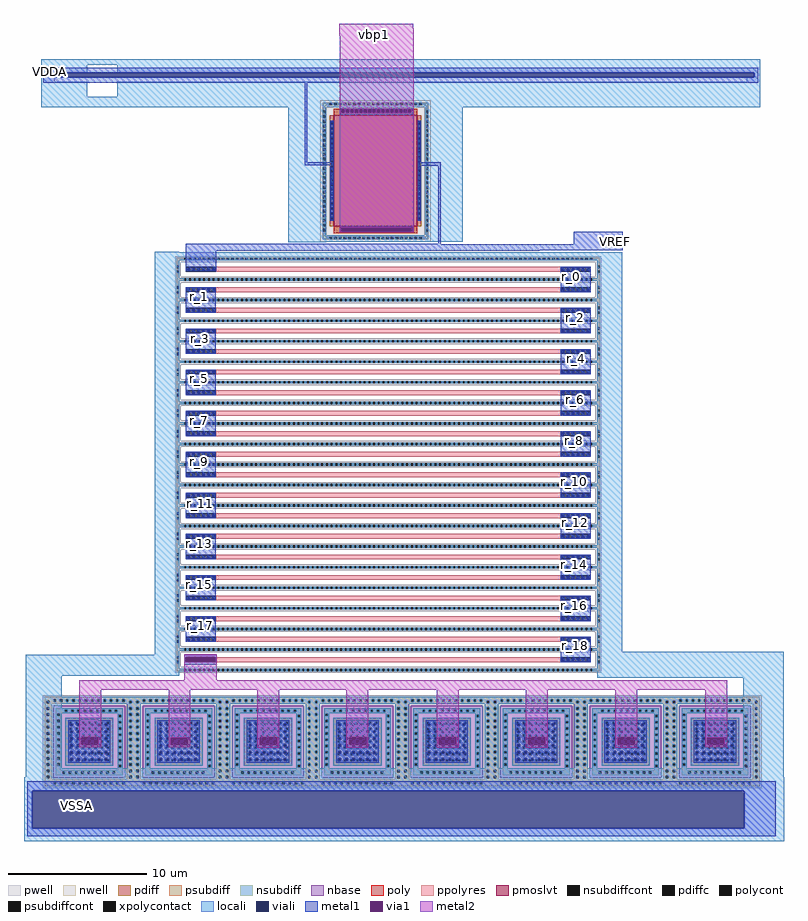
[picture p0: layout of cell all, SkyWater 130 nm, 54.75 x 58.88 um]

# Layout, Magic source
magic
tech sky130A
magscale 1 2
<< locali >>
rect 798 12066 11156 12148
rect 798 11950 1460 12066
rect 1888 11950 11156 12066
rect 798 11886 988 11950
rect 11067 11886 11156 11950
rect 798 11824 993 11886
rect 10963 11824 11156 11886
rect 798 11610 1460 11824
rect 1888 11610 11156 11824
rect 798 11455 11156 11610
rect 798 11454 4902 11455
rect 4358 9610 4902 11454
rect 6322 11454 11156 11455
rect 6322 9610 6866 11454
rect 4358 9520 6866 9610
rect 4358 9516 6838 9520
rect 4358 9514 4902 9516
rect 2432 9366 2782 9372
rect 2432 9254 9170 9366
rect 2432 3570 2782 9254
rect 570 3268 2782 3570
rect 572 3262 2782 3268
rect 8808 3608 9168 9254
rect 572 1930 1090 3262
rect 8808 3246 11492 3608
rect 8810 3236 11492 3246
rect 10908 1930 11492 3236
rect 572 1806 11492 1930
rect 548 1608 11498 1806
rect 548 1070 668 1608
rect 10926 1070 11498 1608
rect 548 882 11498 1070
<< viali >>
rect 988 11886 11067 11950
rect 668 1070 10926 1608
<< metal1 >>
rect 827 11950 11130 12027
rect 827 11886 988 11950
rect 11067 11886 11130 11950
rect 827 11812 11130 11886
rect 4595 10663 4630 11812
rect 5106 11427 6148 11442
rect 5106 11375 5119 11427
rect 5171 11375 5183 11427
rect 5235 11375 5247 11427
rect 5299 11375 5311 11427
rect 5363 11375 5375 11427
rect 5427 11375 5439 11427
rect 5491 11375 5503 11427
rect 5555 11375 5567 11427
rect 5619 11375 5631 11427
rect 5683 11375 5695 11427
rect 5747 11375 5759 11427
rect 5811 11375 5823 11427
rect 5875 11375 5887 11427
rect 5939 11375 5951 11427
rect 6003 11375 6015 11427
rect 6067 11375 6079 11427
rect 6131 11375 6148 11427
rect 5106 11351 6148 11375
rect 4962 10663 5010 10856
rect 4595 10619 5010 10663
rect 4962 10122 5010 10619
rect 4963 10116 5010 10122
rect 6224 10664 6266 10846
rect 6224 10615 6554 10664
rect 6224 10120 6266 10615
rect 6494 10611 6554 10615
rect 5106 9720 6148 9735
rect 5106 9664 5117 9720
rect 6134 9664 6148 9720
rect 5106 9652 6148 9664
rect 6519 9490 6554 10611
rect 2878 9483 6554 9490
rect 8467 9483 9178 9664
rect 2878 9480 9178 9483
rect 2876 9394 9178 9480
rect 2876 9392 7970 9394
rect 2876 9092 3316 9392
rect 2880 8494 3312 8860
rect 8280 8790 8712 9156
rect 2880 7902 3312 8268
rect 8280 8198 8712 8564
rect 2880 7310 3312 7676
rect 8280 7606 8712 7972
rect 2880 6718 3312 7084
rect 8280 7014 8712 7380
rect 2880 6126 3312 6492
rect 8280 6422 8712 6788
rect 2880 5534 3312 5900
rect 8280 5830 8712 6196
rect 2880 4942 3312 5308
rect 8280 5238 8712 5604
rect 2880 4350 3312 4716
rect 8280 4646 8712 5012
rect 2880 3758 3312 4124
rect 8280 4054 8712 4420
rect 2856 3532 3324 3568
rect 2856 3464 2874 3532
rect 3312 3464 3324 3532
rect 2856 3422 3324 3464
rect 8280 3462 8712 3828
rect 1375 2446 1619 2636
rect 1372 2442 1619 2446
rect 2660 2576 2910 2622
rect 1372 2376 1620 2442
rect 2660 2375 2908 2576
rect 3948 2377 4196 2622
rect 1372 2272 1620 2274
rect 2907 2272 2908 2375
rect 4195 2273 4196 2377
rect 3948 2272 4196 2273
rect 5236 2376 5484 2622
rect 6524 2377 6772 2622
rect 5236 2272 5237 2376
rect 6524 2273 6525 2377
rect 7812 2376 8060 2622
rect 6524 2272 6772 2273
rect 9100 2377 9348 2622
rect 9100 2272 9348 2273
rect 10388 2375 10636 2622
rect 10388 2272 10389 2375
rect 596 1608 11382 1746
rect 596 1070 668 1608
rect 10926 1070 11382 1608
rect 596 952 11382 1070
<< via1 >>
rect 5119 11375 5171 11427
rect 5183 11375 5235 11427
rect 5247 11375 5299 11427
rect 5311 11375 5363 11427
rect 5375 11375 5427 11427
rect 5439 11375 5491 11427
rect 5503 11375 5555 11427
rect 5567 11375 5619 11427
rect 5631 11375 5683 11427
rect 5695 11375 5747 11427
rect 5759 11375 5811 11427
rect 5823 11375 5875 11427
rect 5887 11375 5939 11427
rect 5951 11375 6003 11427
rect 6015 11375 6067 11427
rect 6079 11375 6131 11427
rect 5117 9664 6134 9720
rect 2874 3464 3312 3532
rect 1372 2274 1620 2376
rect 2659 2271 2907 2375
rect 3947 2273 4195 2377
rect 5237 2272 5485 2376
rect 6525 2273 6773 2377
rect 7812 2272 8060 2376
rect 9100 2273 9348 2377
rect 10389 2271 10637 2375
<< metal2 >>
rect 5092 12588 6158 12658
rect 5092 12490 6160 12588
rect 5094 11543 6160 12490
rect 5094 11427 6164 11543
rect 5094 11375 5119 11427
rect 5171 11375 5183 11427
rect 5235 11375 5247 11427
rect 5299 11375 5311 11427
rect 5363 11375 5375 11427
rect 5427 11375 5439 11427
rect 5491 11375 5503 11427
rect 5555 11375 5567 11427
rect 5619 11375 5631 11427
rect 5683 11375 5695 11427
rect 5747 11375 5759 11427
rect 5811 11375 5823 11427
rect 5875 11375 5887 11427
rect 5939 11375 5951 11427
rect 6003 11375 6015 11427
rect 6067 11375 6079 11427
rect 6131 11375 6164 11427
rect 5094 11364 6164 11375
rect 5095 9720 6164 11364
rect 5095 9664 5117 9720
rect 6134 9664 6164 9720
rect 5095 9655 6164 9664
rect 2856 3532 3324 3574
rect 2856 3464 2874 3532
rect 3312 3464 3324 3532
rect 2856 3202 3324 3464
rect 10361 3202 10679 3204
rect 1344 3062 10681 3202
rect 1344 3060 3324 3062
rect 1344 2376 1658 3060
rect 1344 2274 1372 2376
rect 1620 2274 1658 2376
rect 1344 2236 1658 2274
rect 2630 2375 2944 3060
rect 2630 2271 2659 2375
rect 2907 2271 2944 2375
rect 2630 2238 2944 2271
rect 3911 2377 4229 3062
rect 3911 2273 3947 2377
rect 4195 2273 4229 2377
rect 3911 2230 4229 2273
rect 5193 2376 5511 3062
rect 5193 2272 5237 2376
rect 5485 2272 5511 2376
rect 5193 2227 5511 2272
rect 6495 2377 6813 3062
rect 6495 2273 6525 2377
rect 6773 2273 6813 2377
rect 6495 2231 6813 2273
rect 7778 2376 8096 3062
rect 7778 2272 7812 2376
rect 8060 2272 8096 2376
rect 7778 2229 8096 2272
rect 9069 2377 9387 3062
rect 9069 2273 9100 2377
rect 9348 2273 9387 2377
rect 9069 2231 9387 2273
rect 10361 2375 10679 3062
rect 10361 2271 10389 2375
rect 10637 2271 10679 2375
rect 10361 2234 10679 2271
use sky130_fd_pr__pfet_01v8_lvt_KLHPYA  XM3
transform 1 0 5614 0 1 10539
box -796 -1019 796 1019
use sky130_fd_pr__rf_pnp_05v5_W3p40L3p40  XQ3
array 0 7 1288 0 0 0
transform 1 0 818 0 1 1646
box 0 0 1340 1340
use sky130_fd_pr__res_high_po_0p35_2EL4HT  XR1
transform 0 1 5796 -1 0 9121
box -35 -2916 35 2916
use sky130_fd_pr__res_high_po_0p35_2EL4HT  XR2
transform 0 1 5796 -1 0 8825
box -35 -2916 35 2916
use sky130_fd_pr__res_high_po_0p35_2EL4HT  XR3
transform 0 1 5796 -1 0 8529
box -35 -2916 35 2916
use sky130_fd_pr__res_high_po_0p35_2EL4HT  XR4
transform 0 1 5796 -1 0 8233
box -35 -2916 35 2916
use sky130_fd_pr__res_high_po_0p35_2EL4HT  XR5
transform 0 1 5796 -1 0 7937
box -35 -2916 35 2916
use sky130_fd_pr__res_high_po_0p35_2EL4HT  XR6
transform 0 1 5796 -1 0 7641
box -35 -2916 35 2916
use sky130_fd_pr__res_high_po_0p35_2EL4HT  XR7
transform 0 1 5796 -1 0 7345
box -35 -2916 35 2916
use sky130_fd_pr__res_high_po_0p35_2EL4HT  XR8
transform 0 1 5796 -1 0 7049
box -35 -2916 35 2916
use sky130_fd_pr__res_high_po_0p35_2EL4HT  XR9
transform 0 1 5796 -1 0 6753
box -35 -2916 35 2916
use sky130_fd_pr__res_high_po_0p35_2EL4HT  XR10
transform 0 1 5796 -1 0 6457
box -35 -2916 35 2916
use sky130_fd_pr__res_high_po_0p35_2EL4HT  XR11
transform 0 1 5796 -1 0 6161
box -35 -2916 35 2916
use sky130_fd_pr__res_high_po_0p35_2EL4HT  XR12
transform 0 1 5796 -1 0 5865
box -35 -2916 35 2916
use sky130_fd_pr__res_high_po_0p35_2EL4HT  XR13
transform 0 1 5796 -1 0 5569
box -35 -2916 35 2916
use sky130_fd_pr__res_high_po_0p35_2EL4HT  XR14
transform 0 1 5796 -1 0 5273
box -35 -2916 35 2916
use sky130_fd_pr__res_high_po_0p35_2EL4HT  XR15
transform 0 1 5796 -1 0 4977
box -35 -2916 35 2916
use sky130_fd_pr__res_high_po_0p35_2EL4HT  XR16
transform 0 1 5796 -1 0 4681
box -35 -2916 35 2916
use sky130_fd_pr__res_high_po_0p35_2EL4HT  XR17
transform 0 1 5796 -1 0 4385
box -35 -2916 35 2916
use sky130_fd_pr__res_high_po_0p35_2EL4HT  XR18
transform 0 1 5796 -1 0 4089
box -35 -2916 35 2916
use sky130_fd_pr__res_high_po_0p35_2EL4HT  XR19
transform 0 1 5796 -1 0 3793
box -35 -2916 35 2916
use sky130_fd_pr__res_high_po_0p35_2EL4HT  XR20
transform 0 1 5796 -1 0 3497
box -35 -2916 35 2916
<< labels >>
flabel metal1 s 8434 9020 8434 9020 0 FreeSans 400 0 0 0 r_0
flabel metal1 s 3082 8730 3082 8730 0 FreeSans 400 0 0 0 r_1
flabel metal1 s 8500 8424 8500 8424 0 FreeSans 400 0 0 0 r_2
flabel metal1 s 3084 8126 3084 8126 0 FreeSans 400 0 0 0 r_3
flabel metal1 s 8508 7830 8508 7830 0 FreeSans 400 0 0 0 r_4
flabel metal1 s 3082 7542 3082 7542 0 FreeSans 400 0 0 0 r_5
flabel metal1 s 8488 7240 8488 7240 0 FreeSans 400 0 0 0 r_6
flabel metal1 s 3072 6940 3072 6940 0 FreeSans 400 0 0 0 r_7
flabel metal1 s 8484 6656 8484 6656 0 FreeSans 400 0 0 0 r_8
flabel metal1 s 3078 6352 3078 6352 0 FreeSans 400 0 0 0 r_9
flabel metal1 s 8480 6060 8480 6060 0 FreeSans 400 0 0 0 r_10
flabel metal1 s 3094 5750 3094 5750 0 FreeSans 400 0 0 0 r_11
flabel metal1 s 8500 5480 8500 5480 0 FreeSans 400 0 0 0 r_12
flabel metal1 s 3074 5164 3074 5164 0 FreeSans 400 0 0 0 r_13
flabel metal1 s 8480 4870 8480 4870 0 FreeSans 400 0 0 0 r_14
flabel metal1 s 3070 4576 3070 4576 0 FreeSans 400 0 0 0 r_15
flabel metal1 s 8478 4280 8478 4280 0 FreeSans 400 0 0 0 r_16
flabel metal1 s 3094 3992 3094 3992 0 FreeSans 400 0 0 0 r_17
flabel metal1 s 8492 3704 8492 3704 0 FreeSans 400 0 0 0 r_18
flabel metal1 s 1200 1302 1400 1502 0 FreeSans 2000 0 0 0 VSSA
port 1 nsew
flabel metal1 s 8976 9428 9176 9628 0 FreeSans 2000 0 0 0 VREF
port 2 nsew
flabel metal2 s 5500 12410 5700 12610 0 FreeSans 2000 0 0 0 vbp1
port 4 nsew
flabel metal1 918 11966 918 11966 0 FreeSans 320 0 0 0 VDDA
port 3 nsew
<< end >>

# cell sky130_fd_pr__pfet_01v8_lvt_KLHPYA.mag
magic
tech sky130A
magscale 1 2
<< nwell >>
rect -796 -1019 796 1019
<< pmoslvt >>
rect -600 -800 600 800
<< pdiff >>
rect -658 697 -600 800
rect -658 663 -646 697
rect -612 663 -600 697
rect -658 629 -600 663
rect -658 595 -646 629
rect -612 595 -600 629
rect -658 561 -600 595
rect -658 527 -646 561
rect -612 527 -600 561
rect -658 493 -600 527
rect -658 459 -646 493
rect -612 459 -600 493
rect -658 425 -600 459
rect -658 391 -646 425
rect -612 391 -600 425
rect -658 357 -600 391
rect -658 323 -646 357
rect -612 323 -600 357
rect -658 289 -600 323
rect -658 255 -646 289
rect -612 255 -600 289
rect -658 221 -600 255
rect -658 187 -646 221
rect -612 187 -600 221
rect -658 153 -600 187
rect -658 119 -646 153
rect -612 119 -600 153
rect -658 85 -600 119
rect -658 51 -646 85
rect -612 51 -600 85
rect -658 17 -600 51
rect -658 -17 -646 17
rect -612 -17 -600 17
rect -658 -51 -600 -17
rect -658 -85 -646 -51
rect -612 -85 -600 -51
rect -658 -119 -600 -85
rect -658 -153 -646 -119
rect -612 -153 -600 -119
rect -658 -187 -600 -153
rect -658 -221 -646 -187
rect -612 -221 -600 -187
rect -658 -255 -600 -221
rect -658 -289 -646 -255
rect -612 -289 -600 -255
rect -658 -323 -600 -289
rect -658 -357 -646 -323
rect -612 -357 -600 -323
rect -658 -391 -600 -357
rect -658 -425 -646 -391
rect -612 -425 -600 -391
rect -658 -459 -600 -425
rect -658 -493 -646 -459
rect -612 -493 -600 -459
rect -658 -527 -600 -493
rect -658 -561 -646 -527
rect -612 -561 -600 -527
rect -658 -595 -600 -561
rect -658 -629 -646 -595
rect -612 -629 -600 -595
rect -658 -663 -600 -629
rect -658 -697 -646 -663
rect -612 -697 -600 -663
rect -658 -800 -600 -697
rect 600 697 658 800
rect 600 663 612 697
rect 646 663 658 697
rect 600 629 658 663
rect 600 595 612 629
rect 646 595 658 629
rect 600 561 658 595
rect 600 527 612 561
rect 646 527 658 561
rect 600 493 658 527
rect 600 459 612 493
rect 646 459 658 493
rect 600 425 658 459
rect 600 391 612 425
rect 646 391 658 425
rect 600 357 658 391
rect 600 323 612 357
rect 646 323 658 357
rect 600 289 658 323
rect 600 255 612 289
rect 646 255 658 289
rect 600 221 658 255
rect 600 187 612 221
rect 646 187 658 221
rect 600 153 658 187
rect 600 119 612 153
rect 646 119 658 153
rect 600 85 658 119
rect 600 51 612 85
rect 646 51 658 85
rect 600 17 658 51
rect 600 -17 612 17
rect 646 -17 658 17
rect 600 -51 658 -17
rect 600 -85 612 -51
rect 646 -85 658 -51
rect 600 -119 658 -85
rect 600 -153 612 -119
rect 646 -153 658 -119
rect 600 -187 658 -153
rect 600 -221 612 -187
rect 646 -221 658 -187
rect 600 -255 658 -221
rect 600 -289 612 -255
rect 646 -289 658 -255
rect 600 -323 658 -289
rect 600 -357 612 -323
rect 646 -357 658 -323
rect 600 -391 658 -357
rect 600 -425 612 -391
rect 646 -425 658 -391
rect 600 -459 658 -425
rect 600 -493 612 -459
rect 646 -493 658 -459
rect 600 -527 658 -493
rect 600 -561 612 -527
rect 646 -561 658 -527
rect 600 -595 658 -561
rect 600 -629 612 -595
rect 646 -629 658 -595
rect 600 -663 658 -629
rect 600 -697 612 -663
rect 646 -697 658 -663
rect 600 -800 658 -697
<< pdiffc >>
rect -646 663 -612 697
rect -646 595 -612 629
rect -646 527 -612 561
rect -646 459 -612 493
rect -646 391 -612 425
rect -646 323 -612 357
rect -646 255 -612 289
rect -646 187 -612 221
rect -646 119 -612 153
rect -646 51 -612 85
rect -646 -17 -612 17
rect -646 -85 -612 -51
rect -646 -153 -612 -119
rect -646 -221 -612 -187
rect -646 -289 -612 -255
rect -646 -357 -612 -323
rect -646 -425 -612 -391
rect -646 -493 -612 -459
rect -646 -561 -612 -527
rect -646 -629 -612 -595
rect -646 -697 -612 -663
rect 612 663 646 697
rect 612 595 646 629
rect 612 527 646 561
rect 612 459 646 493
rect 612 391 646 425
rect 612 323 646 357
rect 612 255 646 289
rect 612 187 646 221
rect 612 119 646 153
rect 612 51 646 85
rect 612 -17 646 17
rect 612 -85 646 -51
rect 612 -153 646 -119
rect 612 -221 646 -187
rect 612 -289 646 -255
rect 612 -357 646 -323
rect 612 -425 646 -391
rect 612 -493 646 -459
rect 612 -561 646 -527
rect 612 -629 646 -595
rect 612 -697 646 -663
<< nsubdiff >>
rect -760 949 -663 983
rect -629 949 -595 983
rect -561 949 -527 983
rect -493 949 -459 983
rect -425 949 -391 983
rect -357 949 -323 983
rect -289 949 -255 983
rect -221 949 -187 983
rect -153 949 -119 983
rect -85 949 -51 983
rect -17 949 17 983
rect 51 949 85 983
rect 119 949 153 983
rect 187 949 221 983
rect 255 949 289 983
rect 323 949 357 983
rect 391 949 425 983
rect 459 949 493 983
rect 527 949 561 983
rect 595 949 629 983
rect 663 949 760 983
rect -760 867 -726 949
rect -760 799 -726 833
rect 726 867 760 949
rect -760 731 -726 765
rect -760 663 -726 697
rect -760 595 -726 629
rect -760 527 -726 561
rect -760 459 -726 493
rect -760 391 -726 425
rect -760 323 -726 357
rect -760 255 -726 289
rect -760 187 -726 221
rect -760 119 -726 153
rect -760 51 -726 85
rect -760 -17 -726 17
rect -760 -85 -726 -51
rect -760 -153 -726 -119
rect -760 -221 -726 -187
rect -760 -289 -726 -255
rect -760 -357 -726 -323
rect -760 -425 -726 -391
rect -760 -493 -726 -459
rect -760 -561 -726 -527
rect -760 -629 -726 -595
rect -760 -697 -726 -663
rect -760 -765 -726 -731
rect -760 -833 -726 -799
rect 726 799 760 833
rect 726 731 760 765
rect 726 663 760 697
rect 726 595 760 629
rect 726 527 760 561
rect 726 459 760 493
rect 726 391 760 425
rect 726 323 760 357
rect 726 255 760 289
rect 726 187 760 221
rect 726 119 760 153
rect 726 51 760 85
rect 726 -17 760 17
rect 726 -85 760 -51
rect 726 -153 760 -119
rect 726 -221 760 -187
rect 726 -289 760 -255
rect 726 -357 760 -323
rect 726 -425 760 -391
rect 726 -493 760 -459
rect 726 -561 760 -527
rect 726 -629 760 -595
rect 726 -697 760 -663
rect 726 -765 760 -731
rect -760 -949 -726 -867
rect 726 -833 760 -799
rect 726 -949 760 -867
rect -760 -983 -663 -949
rect -629 -983 -595 -949
rect -561 -983 -527 -949
rect -493 -983 -459 -949
rect -425 -983 -391 -949
rect -357 -983 -323 -949
rect -289 -983 -255 -949
rect -221 -983 -187 -949
rect -153 -983 -119 -949
rect -85 -983 -51 -949
rect -17 -983 17 -949
rect 51 -983 85 -949
rect 119 -983 153 -949
rect 187 -983 221 -949
rect 255 -983 289 -949
rect 323 -983 357 -949
rect 391 -983 425 -949
rect 459 -983 493 -949
rect 527 -983 561 -949
rect 595 -983 629 -949
rect 663 -983 760 -949
<< nsubdiffcont >>
rect -663 949 -629 983
rect -595 949 -561 983
rect -527 949 -493 983
rect -459 949 -425 983
rect -391 949 -357 983
rect -323 949 -289 983
rect -255 949 -221 983
rect -187 949 -153 983
rect -119 949 -85 983
rect -51 949 -17 983
rect 17 949 51 983
rect 85 949 119 983
rect 153 949 187 983
rect 221 949 255 983
rect 289 949 323 983
rect 357 949 391 983
rect 425 949 459 983
rect 493 949 527 983
rect 561 949 595 983
rect 629 949 663 983
rect -760 833 -726 867
rect 726 833 760 867
rect -760 765 -726 799
rect -760 697 -726 731
rect -760 629 -726 663
rect -760 561 -726 595
rect -760 493 -726 527
rect -760 425 -726 459
rect -760 357 -726 391
rect -760 289 -726 323
rect -760 221 -726 255
rect -760 153 -726 187
rect -760 85 -726 119
rect -760 17 -726 51
rect -760 -51 -726 -17
rect -760 -119 -726 -85
rect -760 -187 -726 -153
rect -760 -255 -726 -221
rect -760 -323 -726 -289
rect -760 -391 -726 -357
rect -760 -459 -726 -425
rect -760 -527 -726 -493
rect -760 -595 -726 -561
rect -760 -663 -726 -629
rect -760 -731 -726 -697
rect -760 -799 -726 -765
rect 726 765 760 799
rect 726 697 760 731
rect 726 629 760 663
rect 726 561 760 595
rect 726 493 760 527
rect 726 425 760 459
rect 726 357 760 391
rect 726 289 760 323
rect 726 221 760 255
rect 726 153 760 187
rect 726 85 760 119
rect 726 17 760 51
rect 726 -51 760 -17
rect 726 -119 760 -85
rect 726 -187 760 -153
rect 726 -255 760 -221
rect 726 -323 760 -289
rect 726 -391 760 -357
rect 726 -459 760 -425
rect 726 -527 760 -493
rect 726 -595 760 -561
rect 726 -663 760 -629
rect 726 -731 760 -697
rect 726 -799 760 -765
rect -760 -867 -726 -833
rect 726 -867 760 -833
rect -663 -983 -629 -949
rect -595 -983 -561 -949
rect -527 -983 -493 -949
rect -459 -983 -425 -949
rect -391 -983 -357 -949
rect -323 -983 -289 -949
rect -255 -983 -221 -949
rect -187 -983 -153 -949
rect -119 -983 -85 -949
rect -51 -983 -17 -949
rect 17 -983 51 -949
rect 85 -983 119 -949
rect 153 -983 187 -949
rect 221 -983 255 -949
rect 289 -983 323 -949
rect 357 -983 391 -949
rect 425 -983 459 -949
rect 493 -983 527 -949
rect 561 -983 595 -949
rect 629 -983 663 -949
<< poly >>
rect -600 881 600 897
rect -600 847 -493 881
rect -459 847 -425 881
rect -391 847 -357 881
rect -323 847 -289 881
rect -255 847 -221 881
rect -187 847 -153 881
rect -119 847 -85 881
rect -51 847 -17 881
rect 17 847 51 881
rect 85 847 119 881
rect 153 847 187 881
rect 221 847 255 881
rect 289 847 323 881
rect 357 847 391 881
rect 425 847 459 881
rect 493 847 600 881
rect -600 800 600 847
rect -600 -847 600 -800
rect -600 -881 -493 -847
rect -459 -881 -425 -847
rect -391 -881 -357 -847
rect -323 -881 -289 -847
rect -255 -881 -221 -847
rect -187 -881 -153 -847
rect -119 -881 -85 -847
rect -51 -881 -17 -847
rect 17 -881 51 -847
rect 85 -881 119 -847
rect 153 -881 187 -847
rect 221 -881 255 -847
rect 289 -881 323 -847
rect 357 -881 391 -847
rect 425 -881 459 -847
rect 493 -881 600 -847
rect -600 -897 600 -881
<< polycont >>
rect -493 847 -459 881
rect -425 847 -391 881
rect -357 847 -323 881
rect -289 847 -255 881
rect -221 847 -187 881
rect -153 847 -119 881
rect -85 847 -51 881
rect -17 847 17 881
rect 51 847 85 881
rect 119 847 153 881
rect 187 847 221 881
rect 255 847 289 881
rect 323 847 357 881
rect 391 847 425 881
rect 459 847 493 881
rect -493 -881 -459 -847
rect -425 -881 -391 -847
rect -357 -881 -323 -847
rect -289 -881 -255 -847
rect -221 -881 -187 -847
rect -153 -881 -119 -847
rect -85 -881 -51 -847
rect -17 -881 17 -847
rect 51 -881 85 -847
rect 119 -881 153 -847
rect 187 -881 221 -847
rect 255 -881 289 -847
rect 323 -881 357 -847
rect 391 -881 425 -847
rect 459 -881 493 -847
<< locali >>
rect -760 949 -663 983
rect -629 949 -595 983
rect -561 949 -527 983
rect -493 949 -459 983
rect -425 949 -391 983
rect -357 949 -323 983
rect -289 949 -255 983
rect -221 949 -187 983
rect -153 949 -119 983
rect -85 949 -51 983
rect -17 949 17 983
rect 51 949 85 983
rect 119 949 153 983
rect 187 949 221 983
rect 255 949 289 983
rect 323 949 357 983
rect 391 949 425 983
rect 459 949 493 983
rect 527 949 561 983
rect 595 949 629 983
rect 663 949 760 983
rect -760 867 -726 949
rect -511 881 -449 882
rect -511 847 -493 881
rect -451 847 -425 881
rect -379 847 -357 881
rect -307 847 -289 881
rect -235 847 -221 881
rect -163 847 -153 881
rect -91 847 -85 881
rect -19 847 -17 881
rect 17 847 19 881
rect 85 847 91 881
rect 153 847 163 881
rect 221 847 235 881
rect 289 847 307 881
rect 357 847 379 881
rect 425 847 451 881
rect 493 847 510 881
rect 726 867 760 949
rect -760 799 -726 833
rect -760 731 -726 765
rect 726 799 760 833
rect 726 731 760 765
rect -760 663 -726 697
rect -760 595 -726 629
rect -760 527 -726 561
rect -760 459 -726 493
rect -760 391 -726 425
rect -760 323 -726 357
rect -760 255 -726 289
rect -760 187 -726 221
rect -760 119 -726 153
rect -760 51 -726 85
rect -760 -17 -726 17
rect -760 -85 -726 -51
rect -760 -153 -726 -119
rect -760 -221 -726 -187
rect -760 -289 -726 -255
rect -760 -357 -726 -323
rect -760 -425 -726 -391
rect -760 -493 -726 -459
rect -760 -561 -726 -527
rect -760 -629 -726 -595
rect -760 -697 -726 -663
rect -646 701 -612 725
rect -646 629 -612 663
rect -646 561 -612 595
rect -646 493 -612 523
rect -646 425 -612 451
rect -646 357 -612 379
rect -646 289 -612 307
rect -646 221 -612 235
rect -646 153 -612 163
rect -646 85 -612 91
rect -646 17 -612 19
rect -646 -19 -612 -17
rect -646 -91 -612 -85
rect -646 -163 -612 -153
rect -646 -235 -612 -221
rect -646 -307 -612 -289
rect -646 -379 -612 -357
rect -646 -451 -612 -425
rect -646 -523 -612 -493
rect -646 -595 -612 -561
rect -646 -663 -612 -629
rect -646 -719 -612 -701
rect 612 701 646 722
rect 612 629 646 663
rect 612 561 646 595
rect 612 493 646 523
rect 612 425 646 451
rect 612 357 646 379
rect 612 289 646 307
rect 612 221 646 235
rect 612 153 646 163
rect 612 85 646 91
rect 612 17 646 19
rect 612 -19 646 -17
rect 612 -91 646 -85
rect 612 -163 646 -153
rect 612 -235 646 -221
rect 612 -307 646 -289
rect 612 -379 646 -357
rect 612 -451 646 -425
rect 612 -523 646 -493
rect 612 -595 646 -561
rect 612 -663 646 -629
rect 612 -721 646 -701
rect 726 663 760 697
rect 726 595 760 629
rect 726 527 760 561
rect 726 459 760 493
rect 726 391 760 425
rect 726 323 760 357
rect 726 255 760 289
rect 726 187 760 221
rect 726 119 760 153
rect 726 51 760 85
rect 726 -17 760 17
rect 726 -85 760 -51
rect 726 -153 760 -119
rect 726 -221 760 -187
rect 726 -289 760 -255
rect 726 -357 760 -323
rect 726 -425 760 -391
rect 726 -493 760 -459
rect 726 -561 760 -527
rect 726 -629 760 -595
rect 726 -697 760 -663
rect -760 -765 -726 -731
rect -760 -833 -726 -799
rect 726 -765 760 -731
rect 726 -833 760 -799
rect -760 -949 -726 -867
rect -511 -881 -493 -847
rect -451 -881 -425 -847
rect -379 -881 -357 -847
rect -307 -881 -289 -847
rect -235 -881 -221 -847
rect -163 -881 -153 -847
rect -91 -881 -85 -847
rect -19 -881 -17 -847
rect 17 -881 19 -847
rect 85 -881 91 -847
rect 153 -881 163 -847
rect 221 -881 235 -847
rect 289 -881 307 -847
rect 357 -881 379 -847
rect 425 -881 451 -847
rect 493 -881 509 -847
rect 726 -949 760 -867
rect -760 -983 -663 -949
rect -629 -983 -595 -949
rect -561 -983 -527 -949
rect -493 -983 -459 -949
rect -425 -983 -391 -949
rect -357 -983 -323 -949
rect -289 -983 -255 -949
rect -221 -983 -187 -949
rect -153 -983 -119 -949
rect -85 -983 -51 -949
rect -17 -983 17 -949
rect 51 -983 85 -949
rect 119 -983 153 -949
rect 187 -983 221 -949
rect 255 -983 289 -949
rect 323 -983 357 -949
rect 391 -983 425 -949
rect 459 -983 493 -949
rect 527 -983 561 -949
rect 595 -983 629 -949
rect 663 -983 760 -949
<< viali >>
rect -485 847 -459 881
rect -459 847 -451 881
rect -413 847 -391 881
rect -391 847 -379 881
rect -341 847 -323 881
rect -323 847 -307 881
rect -269 847 -255 881
rect -255 847 -235 881
rect -197 847 -187 881
rect -187 847 -163 881
rect -125 847 -119 881
rect -119 847 -91 881
rect -53 847 -51 881
rect -51 847 -19 881
rect 19 847 51 881
rect 51 847 53 881
rect 91 847 119 881
rect 119 847 125 881
rect 163 847 187 881
rect 187 847 197 881
rect 235 847 255 881
rect 255 847 269 881
rect 307 847 323 881
rect 323 847 341 881
rect 379 847 391 881
rect 391 847 413 881
rect 451 847 459 881
rect 459 847 485 881
rect -646 697 -612 701
rect -646 667 -612 697
rect -646 595 -612 629
rect -646 527 -612 557
rect -646 523 -612 527
rect -646 459 -612 485
rect -646 451 -612 459
rect -646 391 -612 413
rect -646 379 -612 391
rect -646 323 -612 341
rect -646 307 -612 323
rect -646 255 -612 269
rect -646 235 -612 255
rect -646 187 -612 197
rect -646 163 -612 187
rect -646 119 -612 125
rect -646 91 -612 119
rect -646 51 -612 53
rect -646 19 -612 51
rect -646 -51 -612 -19
rect -646 -53 -612 -51
rect -646 -119 -612 -91
rect -646 -125 -612 -119
rect -646 -187 -612 -163
rect -646 -197 -612 -187
rect -646 -255 -612 -235
rect -646 -269 -612 -255
rect -646 -323 -612 -307
rect -646 -341 -612 -323
rect -646 -391 -612 -379
rect -646 -413 -612 -391
rect -646 -459 -612 -451
rect -646 -485 -612 -459
rect -646 -527 -612 -523
rect -646 -557 -612 -527
rect -646 -629 -612 -595
rect -646 -697 -612 -667
rect -646 -701 -612 -697
rect 612 697 646 701
rect 612 667 646 697
rect 612 595 646 629
rect 612 527 646 557
rect 612 523 646 527
rect 612 459 646 485
rect 612 451 646 459
rect 612 391 646 413
rect 612 379 646 391
rect 612 323 646 341
rect 612 307 646 323
rect 612 255 646 269
rect 612 235 646 255
rect 612 187 646 197
rect 612 163 646 187
rect 612 119 646 125
rect 612 91 646 119
rect 612 51 646 53
rect 612 19 646 51
rect 612 -51 646 -19
rect 612 -53 646 -51
rect 612 -119 646 -91
rect 612 -125 646 -119
rect 612 -187 646 -163
rect 612 -197 646 -187
rect 612 -255 646 -235
rect 612 -269 646 -255
rect 612 -323 646 -307
rect 612 -341 646 -323
rect 612 -391 646 -379
rect 612 -413 646 -391
rect 612 -459 646 -451
rect 612 -485 646 -459
rect 612 -527 646 -523
rect 612 -557 646 -527
rect 612 -629 646 -595
rect 612 -697 646 -667
rect 612 -701 646 -697
rect -485 -881 -459 -847
rect -459 -881 -451 -847
rect -413 -881 -391 -847
rect -391 -881 -379 -847
rect -341 -881 -323 -847
rect -323 -881 -307 -847
rect -269 -881 -255 -847
rect -255 -881 -235 -847
rect -197 -881 -187 -847
rect -187 -881 -163 -847
rect -125 -881 -119 -847
rect -119 -881 -91 -847
rect -53 -881 -51 -847
rect -51 -881 -19 -847
rect 19 -881 51 -847
rect 51 -881 53 -847
rect 91 -881 119 -847
rect 119 -881 125 -847
rect 163 -881 187 -847
rect 187 -881 197 -847
rect 235 -881 255 -847
rect 255 -881 269 -847
rect 307 -881 323 -847
rect 323 -881 341 -847
rect 379 -881 391 -847
rect 391 -881 413 -847
rect 451 -881 459 -847
rect 459 -881 485 -847
<< metal1 >>
rect -511 881 510 887
rect -511 847 -485 881
rect -451 847 -413 881
rect -379 847 -341 881
rect -307 847 -269 881
rect -235 847 -197 881
rect -163 847 -125 881
rect -91 847 -53 881
rect -19 847 19 881
rect 53 847 91 881
rect 125 847 163 881
rect 197 847 235 881
rect 269 847 307 881
rect 341 847 379 881
rect 413 847 451 881
rect 485 847 510 881
rect -511 841 510 847
rect -652 701 -606 725
rect -652 667 -646 701
rect -612 667 -606 701
rect -652 629 -606 667
rect -652 595 -646 629
rect -612 595 -606 629
rect -652 557 -606 595
rect -652 523 -646 557
rect -612 523 -606 557
rect -652 485 -606 523
rect -652 451 -646 485
rect -612 451 -606 485
rect -652 413 -606 451
rect -652 379 -646 413
rect -612 379 -606 413
rect -652 341 -606 379
rect -652 307 -646 341
rect -612 307 -606 341
rect -652 269 -606 307
rect -652 235 -646 269
rect -612 235 -606 269
rect -652 197 -606 235
rect -652 163 -646 197
rect -612 163 -606 197
rect -652 125 -606 163
rect -652 91 -646 125
rect -612 91 -606 125
rect -652 53 -606 91
rect -652 19 -646 53
rect -612 19 -606 53
rect -652 -19 -606 19
rect -652 -53 -646 -19
rect -612 -53 -606 -19
rect -652 -91 -606 -53
rect -652 -125 -646 -91
rect -612 -125 -606 -91
rect -652 -163 -606 -125
rect -652 -197 -646 -163
rect -612 -197 -606 -163
rect -652 -235 -606 -197
rect -652 -269 -646 -235
rect -612 -269 -606 -235
rect -652 -307 -606 -269
rect -652 -341 -646 -307
rect -612 -341 -606 -307
rect -652 -379 -606 -341
rect -652 -413 -646 -379
rect -612 -413 -606 -379
rect -652 -451 -606 -413
rect -652 -485 -646 -451
rect -612 -485 -606 -451
rect -652 -523 -606 -485
rect -652 -557 -646 -523
rect -612 -557 -606 -523
rect -652 -595 -606 -557
rect -652 -629 -646 -595
rect -612 -629 -606 -595
rect -652 -667 -606 -629
rect -652 -701 -646 -667
rect -612 -701 -606 -667
rect -652 -719 -606 -701
rect 606 701 652 722
rect 606 667 612 701
rect 646 667 652 701
rect 606 629 652 667
rect 606 595 612 629
rect 646 595 652 629
rect 606 557 652 595
rect 606 523 612 557
rect 646 523 652 557
rect 606 485 652 523
rect 606 451 612 485
rect 646 451 652 485
rect 606 413 652 451
rect 606 379 612 413
rect 646 379 652 413
rect 606 341 652 379
rect 606 307 612 341
rect 646 307 652 341
rect 606 269 652 307
rect 606 235 612 269
rect 646 235 652 269
rect 606 197 652 235
rect 606 163 612 197
rect 646 163 652 197
rect 606 125 652 163
rect 606 91 612 125
rect 646 91 652 125
rect 606 53 652 91
rect 606 19 612 53
rect 646 19 652 53
rect 606 -19 652 19
rect 606 -53 612 -19
rect 646 -53 652 -19
rect 606 -91 652 -53
rect 606 -125 612 -91
rect 646 -125 652 -91
rect 606 -163 652 -125
rect 606 -197 612 -163
rect 646 -197 652 -163
rect 606 -235 652 -197
rect 606 -269 612 -235
rect 646 -269 652 -235
rect 606 -307 652 -269
rect 606 -341 612 -307
rect 646 -341 652 -307
rect 606 -379 652 -341
rect 606 -413 612 -379
rect 646 -413 652 -379
rect 606 -451 652 -413
rect 606 -485 612 -451
rect 646 -485 652 -451
rect 606 -523 652 -485
rect 606 -557 612 -523
rect 646 -557 652 -523
rect 606 -595 652 -557
rect 606 -629 612 -595
rect 646 -629 652 -595
rect 606 -667 652 -629
rect 606 -701 612 -667
rect 646 -701 652 -667
rect 606 -721 652 -701
rect -511 -847 509 -841
rect -511 -881 -485 -847
rect -451 -881 -413 -847
rect -379 -881 -341 -847
rect -307 -881 -269 -847
rect -235 -881 -197 -847
rect -163 -881 -125 -847
rect -91 -881 -53 -847
rect -19 -881 19 -847
rect 53 -881 91 -847
rect 125 -881 163 -847
rect 197 -881 235 -847
rect 269 -881 307 -847
rect 341 -881 379 -847
rect 413 -881 451 -847
rect 485 -881 509 -847
rect -511 -887 509 -881
<< labels >>
rlabel locali s 0 -966 0 -966 4 B
rlabel locali s -629 0 -629 0 4 D
rlabel locali s 629 0 629 0 4 S
rlabel locali s 0 864 0 864 4 G
<< properties >>
string FIXED_BBOX -743 -966 743 966
<< end >>

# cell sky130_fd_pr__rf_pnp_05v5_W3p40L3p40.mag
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
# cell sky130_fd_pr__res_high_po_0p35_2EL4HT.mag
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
